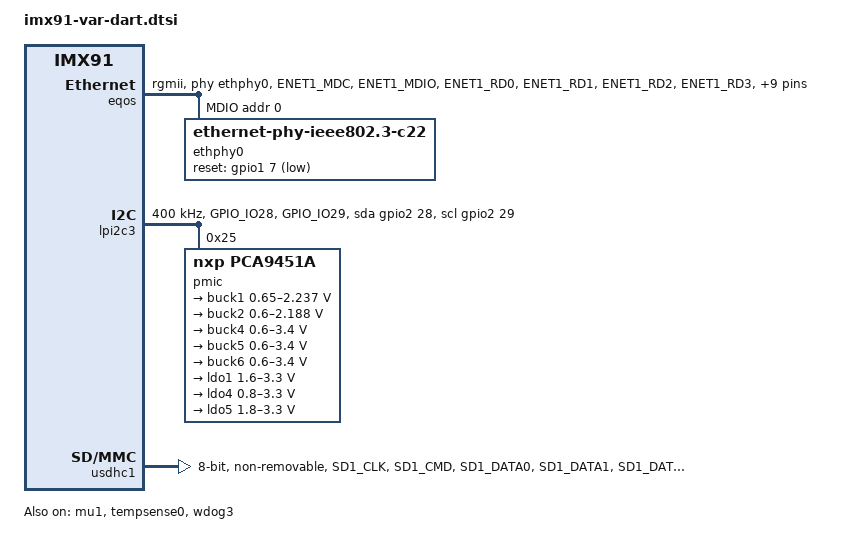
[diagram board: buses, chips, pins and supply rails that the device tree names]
// SPDX-License-Identifier: (GPL-2.0+ OR MIT)
/*
 * Copyright 2024 NXP
 * Copyright 2025 Variscite Ltd.
 */

/dts-v1/;

#include "imx91.dtsi"
#include <dt-bindings/net/mxl-8611x.h>

/{
	compatible = "variscite,imx91-var-dart", "fsl,imx91";

	aliases {
		ethernet0 = &eqos;
	};

	reserved-memory {
		#address-cells = <2>;
		#size-cells = <2>;
		ranges;

		linux,cma {
			compatible = "shared-dma-pool";
			reusable;
			alloc-ranges = <0 0x80000000 0 0x40000000>;
			size = <0 0x10000000>;
			linux,cma-default;
		};
	};
};

&mu1 {
	status = "okay";
};

&eqos {
	pinctrl-names = "default";
	pinctrl-0 = <&pinctrl_eqos>;
	phy-mode = "rgmii";
	phy-handle = <&ethphy0>;
	status = "okay";

	mdio {
		compatible = "snps,dwmac-mdio";
		#address-cells = <1>;
		#size-cells = <0>;
		clock-frequency = <5000000>;

		ethphy0: ethernet-phy@0 {
			compatible = "ethernet-phy-ieee802.3-c22";
			reg = <0>;
			device_type = "ethernet-phy";
			eee-broken-1000t;
			reset-gpios = <&gpio1 7 GPIO_ACTIVE_LOW>;
			reset-assert-us = <15000>;
			reset-deassert-us = <100000>;
			mxl-8611x,led0_cfg = <(
				MXL8611X_LEDX_CFG_LINK_UP_RX_ACT_ON |
				MXL8611X_LEDX_CFG_LINK_UP_TX_ACT_ON |
				MXL8611X_LEDX_CFG_TRAFFIC_ACT_BLINK_IND
			)>;
			mxl-8611x,led1_cfg = <(
				MXL8611X_LEDX_CFG_LINK_UP_10MB_ON |
				MXL8611X_LEDX_CFG_LINK_UP_100MB_ON |
				MXL8611X_LEDX_CFG_LINK_UP_1GB_ON
			)>;
		};
	};
};

&iomuxc {
	pinctrl_eqos: eqosgrp {
		fsl,pins = <
			MX91_PAD_ENET1_MDC__ENET1_MDC					0x57e
			MX91_PAD_ENET1_MDIO__ENET_QOS_MDIO				0x57e
			MX91_PAD_ENET1_RD0__ENET_QOS_RGMII_RD0				0x57e
			MX91_PAD_ENET1_RD1__ENET_QOS_RGMII_RD1				0x57e
			MX91_PAD_ENET1_RD2__ENET_QOS_RGMII_RD2				0x57e
			MX91_PAD_ENET1_RD3__ENET_QOS_RGMII_RD3				0x57e
			MX91_PAD_ENET1_RXC__ENET_QOS_RGMII_RXC				0x5fe
			MX91_PAD_ENET1_RX_CTL__ENET_QOS_RGMII_RX_CTL			0x57e
			MX91_PAD_ENET1_TD0__ENET_QOS_RGMII_TD0				0x57e
			MX91_PAD_ENET1_TD1__ENET1_RGMII_TD1				0x57e
			MX91_PAD_ENET1_TD2__ENET_QOS_RGMII_TD2				0x57e
			MX91_PAD_ENET1_TD3__ENET_QOS_RGMII_TD3				0x57e
			MX91_PAD_ENET1_TXC__CCM_ENET_QOS_CLOCK_GENERATE_TX_CLK		0x5fe
			MX91_PAD_ENET1_TX_CTL__ENET_QOS_RGMII_TX_CTL			0x57e
			MX91_PAD_UART2_TXD__GPIO1_IO7					0x31e
		>;
	};

	pinctrl_lpi2c3: lpi2c3grp {
		fsl,pins = <
			MX91_PAD_GPIO_IO28__LPI2C3_SDA			0x40000b9e
			MX91_PAD_GPIO_IO29__LPI2C3_SCL			0x40000b9e
		>;
	};

	pinctrl_lpi2c3_gpio: lpi2c3grp-gpio {
		fsl,pins = <
			MX91_PAD_GPIO_IO28__GPIO2_IO28                  0x31e
			MX91_PAD_GPIO_IO29__GPIO2_IO29                  0x31e
		>;
	};

	/* need to config the SION for data and cmd pad, refer to ERR052021 */
	pinctrl_usdhc1: usdhc1grp {
		fsl,pins = <
			MX91_PAD_SD1_CLK__USDHC1_CLK		0x1582
			MX91_PAD_SD1_CMD__USDHC1_CMD		0x40001382
			MX91_PAD_SD1_DATA0__USDHC1_DATA0	0x40001382
			MX91_PAD_SD1_DATA1__USDHC1_DATA1	0x40001382
			MX91_PAD_SD1_DATA2__USDHC1_DATA2	0x40001382
			MX91_PAD_SD1_DATA3__USDHC1_DATA3	0x40001382
			MX91_PAD_SD1_DATA4__USDHC1_DATA4	0x40001382
			MX91_PAD_SD1_DATA5__USDHC1_DATA5	0x40001382
			MX91_PAD_SD1_DATA6__USDHC1_DATA6	0x40001382
			MX91_PAD_SD1_DATA7__USDHC1_DATA7	0x40001382
			MX91_PAD_SD1_STROBE__USDHC1_STROBE	0x1582
		>;
	};

	/* need to config the SION for data and cmd pad, refer to ERR052021 */
	pinctrl_usdhc1_100mhz: usdhc1-100mhzgrp {
		fsl,pins = <
			MX91_PAD_SD1_CLK__USDHC1_CLK		0x158e
			MX91_PAD_SD1_CMD__USDHC1_CMD		0x4000138e
			MX91_PAD_SD1_DATA0__USDHC1_DATA0	0x4000138e
			MX91_PAD_SD1_DATA1__USDHC1_DATA1	0x4000138e
			MX91_PAD_SD1_DATA2__USDHC1_DATA2	0x4000138e
			MX91_PAD_SD1_DATA3__USDHC1_DATA3	0x4000138e
			MX91_PAD_SD1_DATA4__USDHC1_DATA4	0x4000138e
			MX91_PAD_SD1_DATA5__USDHC1_DATA5	0x4000138e
			MX91_PAD_SD1_DATA6__USDHC1_DATA6	0x4000138e
			MX91_PAD_SD1_DATA7__USDHC1_DATA7	0x4000138e
			MX91_PAD_SD1_STROBE__USDHC1_STROBE	0x158e
		>;
	};

	/* need to config the SION for data and cmd pad, refer to ERR052021 */
	pinctrl_usdhc1_200mhz: usdhc1-200mhzgrp {
		fsl,pins = <
			MX91_PAD_SD1_CLK__USDHC1_CLK		0x15fe
			MX91_PAD_SD1_CMD__USDHC1_CMD		0x400013fe
			MX91_PAD_SD1_DATA0__USDHC1_DATA0	0x400013fe
			MX91_PAD_SD1_DATA1__USDHC1_DATA1	0x400013fe
			MX91_PAD_SD1_DATA2__USDHC1_DATA2	0x400013fe
			MX91_PAD_SD1_DATA3__USDHC1_DATA3	0x400013fe
			MX91_PAD_SD1_DATA4__USDHC1_DATA4	0x400013fe
			MX91_PAD_SD1_DATA5__USDHC1_DATA5	0x400013fe
			MX91_PAD_SD1_DATA6__USDHC1_DATA6	0x400013fe
			MX91_PAD_SD1_DATA7__USDHC1_DATA7	0x400013fe
			MX91_PAD_SD1_STROBE__USDHC1_STROBE	0x15fe
		>;
	};
};

&lpi2c3 {
	#address-cells = <1>;
	#size-cells = <0>;
	clock-frequency = <400000>;
	pinctrl-names = "default", "sleep", "gpio";
	pinctrl-0 = <&pinctrl_lpi2c3>;
	pinctrl-1 = <&pinctrl_lpi2c3_gpio>;
	pinctrl-2 = <&pinctrl_lpi2c3_gpio>;
	scl-gpios = <&gpio2 29 GPIO_ACTIVE_HIGH>;
	sda-gpios = <&gpio2 28 GPIO_ACTIVE_HIGH>;
	status = "okay";

	pmic@25 {
		compatible = "nxp,pca9451a";
		reg = <0x25>;
		pinctrl-names = "default";

		regulators {
			buck1: BUCK1 {
				regulator-name = "BUCK1";
				regulator-min-microvolt = <650000>;
				regulator-max-microvolt = <2237500>;
				regulator-boot-on;
				regulator-always-on;
				regulator-ramp-delay = <3125>;
			};

			buck2: BUCK2 {
				regulator-name = "BUCK2";
				regulator-min-microvolt = <600000>;
				regulator-max-microvolt = <2187500>;
				regulator-boot-on;
				regulator-always-on;
				regulator-ramp-delay = <3125>;
			};

			buck4: BUCK4{
				regulator-name = "BUCK4";
				regulator-min-microvolt = <600000>;
				regulator-max-microvolt = <3400000>;
				regulator-boot-on;
				regulator-always-on;
			};

			buck5: BUCK5{
				regulator-name = "BUCK5";
				regulator-min-microvolt = <600000>;
				regulator-max-microvolt = <3400000>;
				regulator-boot-on;
				regulator-always-on;
			};

			buck6: BUCK6 {
				regulator-name = "BUCK6";
				regulator-min-microvolt = <600000>;
				regulator-max-microvolt = <3400000>;
				regulator-boot-on;
				regulator-always-on;
			};

			ldo1: LDO1 {
				regulator-name = "LDO1";
				regulator-min-microvolt = <1600000>;
				regulator-max-microvolt = <3300000>;
				regulator-boot-on;
				regulator-always-on;
			};

			ldo4: LDO4 {
				regulator-name = "LDO4";
				regulator-min-microvolt = <800000>;
				regulator-max-microvolt = <3300000>;
				regulator-boot-on;
				regulator-always-on;
			};

			ldo5: LDO5 {
				regulator-name = "LDO5";
				regulator-min-microvolt = <1800000>;
				regulator-max-microvolt = <3300000>;
				regulator-boot-on;
				regulator-always-on;
			};
		};
	};
};

&tempsense0 {
	status = "okay";
};

&usdhc1 {
	pinctrl-names = "default", "state_100mhz", "state_200mhz";
	pinctrl-0 = <&pinctrl_usdhc1>;
	pinctrl-1 = <&pinctrl_usdhc1_100mhz>;
	pinctrl-2 = <&pinctrl_usdhc1_200mhz>;
	bus-width = <8>;
	non-removable;
	status = "okay";
};

&wdog3 {
	status = "okay";
};
